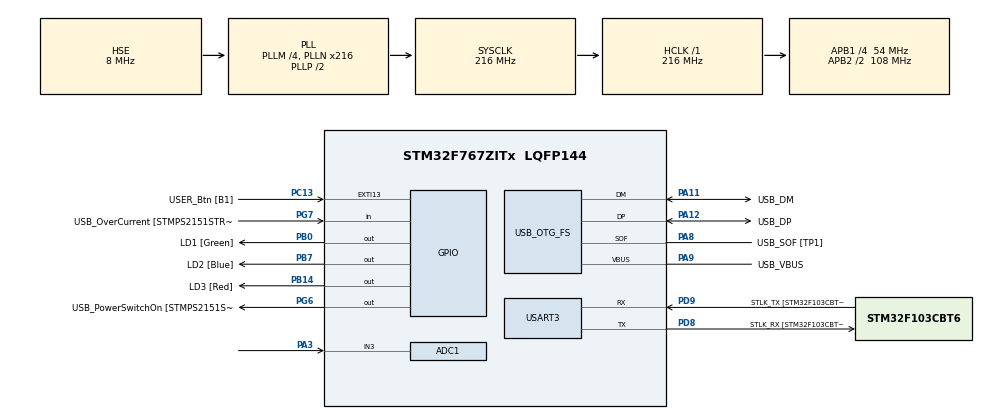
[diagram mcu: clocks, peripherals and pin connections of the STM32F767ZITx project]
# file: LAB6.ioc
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ADC1.Channel-0\#ChannelRegularConversion=ADC_CHANNEL_3
ADC1.ExternalTrigConv=ADC_EXTERNALTRIGCONV_T2_TRGO
ADC1.NbrOfConversionFlag=1
ADC1.Rank-0\#ChannelRegularConversion=1
ADC1.SamplingTime-0\#ChannelRegularConversion=ADC_SAMPLETIME_3CYCLES
ADC1.master=1
Mcu.Family=STM32F7
Mcu.Name=STM32F767ZITx
Mcu.Package=LQFP144
NVIC.ADC_IRQn=true\:2\:0\:true\:false\:true\:true\:true\:true
NVIC.PriorityGroup=NVIC_PRIORITYGROUP_2
NVIC.TIM1_UP_TIM10_IRQn=true\:1\:0\:true\:false\:true\:true\:true\:true
NVIC.TIM2_IRQn=true\:2\:0\:true\:false\:true\:true\:true\:true
PA1.GPIO_Label=RMII_REF_CLK [LAN8742A-CZ-TR_REFCLK0]
PA1.Signal=ETH_REF_CLK
PA10.GPIO_Label=USB_ID
PA10.Signal=USB_OTG_FS_ID
PA11.GPIO_Label=USB_DM
PA11.Mode=Device_Only
PA11.Signal=USB_OTG_FS_DM
PA12.GPIO_Label=USB_DP
PA12.Mode=Device_Only
PA12.Signal=USB_OTG_FS_DP
PA13.GPIO_Label=TMS
PA13.Mode=Serial_Wire
PA13.Signal=SYS_JTMS-SWDIO
PA14.GPIO_Label=TCK
PA14.Mode=Serial_Wire
PA14.Signal=SYS_JTCK-SWCLK
PA2.GPIO_Label=RMII_MDIO [LAN8742A-CZ-TR_MDIO]
PA2.Signal=ETH_MDIO
PA3.Signal=ADCx_IN3
PA7.GPIO_Label=RMII_CRS_DV [LAN8742A-CZ-TR_CRS_DV]
PA7.Signal=ETH_CRS_DV
PA8.GPIO_Label=USB_SOF [TP1]
PA8.Mode=Activate_SOF_FS
PA8.Signal=USB_OTG_FS_SOF
PA9.GPIO_Label=USB_VBUS
PA9.Mode=Activate_VBUS
PA9.Signal=USB_OTG_FS_VBUS
PB0.GPIO_Label=LD1 [Green]
PB0.Signal=GPIO_Output
PB13.GPIO_Label=RMII_TXD1 [LAN8742A-CZ-TR_TXD1]
PB13.Signal=ETH_TXD1
PB14.GPIO_Label=LD3 [Red]
PB14.Signal=GPIO_Output
PB3.GPIO_Label=SWO
PB3.Signal=SYS_JTDO-SWO
PB7.GPIO_Label=LD2 [Blue]
PB7.Signal=GPIO_Output
PC1.GPIO_Label=RMII_MDC [LAN8742A-CZ-TR_MDC]
PC1.Signal=ETH_MDC
PC13.GPIO_Label=USER_Btn [B1]
PC13.Signal=GPXTI13
PC14/OSC32_IN.Mode=LSE-External-Oscillator
PC14/OSC32_IN.Signal=RCC_OSC32_IN
PC15/OSC32_OUT.Mode=LSE-External-Oscillator
PC15/OSC32_OUT.Signal=RCC_OSC32_OUT
PC4.GPIO_Label=RMII_RXD0 [LAN8742A-CZ-TR_RXD0]
PC4.Signal=ETH_RXD0
PC5.GPIO_Label=RMII_RXD1 [LAN8742A-CZ-TR_RXD1]
PC5.Signal=ETH_RXD1
PD8.GPIO_Label=STLK_RX [STM32F103CBT6_PA3]
PD8.Mode=Asynchronous
PD8.Signal=USART3_TX
PD9.GPIO_Label=STLK_TX [STM32F103CBT6_PA2]
PD9.Mode=Asynchronous
PD9.Signal=USART3_RX
PG11.GPIO_Label=RMII_TX_EN [LAN8742A-CZ-TR_TXEN]
PG11.Signal=ETH_TX_EN
PG13.GPIO_Label=RMII_TXD0 [LAN8742A-CZ-TR_TXD0]
PG13.Signal=ETH_TXD0
PG6.GPIO_Label=USB_PowerSwitchOn [STMPS2151STR_EN]
PG6.Signal=GPIO_Output
PG7.GPIO_Label=USB_OverCurrent [STMPS2151STR_FAULT]
PG7.Signal=GPIO_Input
PH0/OSC_IN.GPIO_Label=MCO [STM32F103CBT6_PA8]
PH0/OSC_IN.Mode=HSE-External-Clock-Source
PH0/OSC_IN.Signal=RCC_OSC_IN
PH1/OSC_OUT.Mode=HSE-External-Clock-Source
PH1/OSC_OUT.Signal=RCC_OSC_OUT
ProjectManager.HeapSize=0x200
ProjectManager.StackSize=0x400
ProjectManager.TargetToolchain=STM32CubeIDE
RCC.48MHZClocksFreq_Value=24000000
RCC.AHBFreq_Value=216000000
RCC.APB1CLKDivider=RCC_HCLK_DIV4
RCC.APB1Freq_Value=54000000
RCC.APB1TimFreq_Value=108000000
RCC.APB2CLKDivider=RCC_HCLK_DIV2
RCC.APB2Freq_Value=108000000
RCC.APB2TimFreq_Value=216000000
RCC.CortexFreq_Value=216000000
RCC.HCLKFreq_Value=216000000
RCC.HSE_VALUE=8000000
RCC.HSI_VALUE=16000000
RCC.PLLM=4
RCC.PLLMUL=RCC_PLL_MUL9
RCC.PLLN=216
RCC.PLLQ=9
RCC.PRESCALERUSB=RCC_USBCLKSOURCE_PLL_DIV1_5
RCC.SYSCLKFreq_VALUE=216000000
RCC.SYSCLKSource=RCC_SYSCLKSOURCE_PLLCLK
RCC.SYSCLKSourceVirtual=RCC_SYSCLKSOURCE_PLLCLK
RCC.USBFreq_Value=48000000
RCC.VCOOutputFreq_Value=432000000
SH.ADCx_IN3.0=ADC1_IN3,IN3
TIM1.ClockDivision=TIM_CLOCKDIVISION_DIV1
TIM1.Period=1000-1
TIM1.Prescaler=216-1
TIM2.ClockDivision=TIM_CLOCKDIVISION_DIV4
TIM2.Period=100000-1
TIM2.Prescaler=16-1
TIM2.TIM_MasterOutputTrigger=TIM_TRGO_UPDATE
USART3.VirtualMode-Asynchronous=VM_ASYNC
USB_OTG_FS.VirtualMode=Device_Only
VP_TIM1_VS_ClockSourceINT.Mode=Internal
VP_TIM2_VS_ClockSourceINT.Mode=Internal
board=NUCLEO-F767ZI

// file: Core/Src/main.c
/* USER CODE BEGIN Header */
/**
  ******************************************************************************
  * @file           : main.c
  * @brief          : Main program body
  ******************************************************************************
  * @attention
  *
  * Copyright (c) 2023 STMicroelectronics.
  * All rights reserved.
  *
  * This software is licensed under terms that can be found in the LICENSE file
  * in the root directory of this software component.
  * If no LICENSE file comes with this software, it is provided AS-IS.
  *
  ******************************************************************************
  */
/* USER CODE END Header */
#include "main.h"
#include "adc.h"
#include "tim.h"
#include "usart.h"
#include "usb_otg.h"
#include "gpio.h"

/* USER CODE BEGIN Includes */
#include "stdio.h"
#include "string.h"

/* USER CODE END Includes */

/* USER CODE BEGIN PM */
#define print(x) HAL_UART_Transmit(&huart3, (uint8_t*)x, strlen(x),1000)
/* USER CODE END PM */

/* USER CODE BEGIN PV */
uint32_t count;
uint32_t minute=0;
uint32_t second;
/* USER CODE END PV */

void SystemClock_Config(void);

/* USER CODE BEGIN 0 */
void displayNumber(uint32_t myInteger)
{
	char toBaseTen[50];
	sprintf(toBaseTen,"%d",myInteger);
	print(toBaseTen);
	print("\r");

}

void displayTime()
{
	char toMinute[10];
	char toSecond[10];
//	second = count;
	print("\r");
	strcpy(toSecond,second);
	sprintf(toSecond,"%d",second);
	/*if(second == 60)
	{
		minute++;
		sprintf(toMinute,"%d",minute);
		second = 0;
	}*/
//	print(toSecond);

}
/* USER CODE END 0 */

int main(void)
{

  /* MCU Configuration--------------------------------------------------------*/

  /* Reset of all peripherals, Initializes the Flash interface and the Systick. */
  HAL_Init();

  /* Configure the system clock */
  SystemClock_Config();

  /* Initialize all configured peripherals */
  MX_GPIO_Init();
  MX_USART3_UART_Init();
  MX_USB_OTG_FS_PCD_Init();
  MX_ADC1_Init();
  MX_TIM2_Init();
  MX_TIM1_Init();
  /* USER CODE BEGIN 2 */
  HAL_TIM_Base_Start_IT(&htim1);
//  HAL_TIM_Base_Start_IT(&htim2);

  /* USER CODE END 2 */

  /* Infinite loop */
  /* USER CODE BEGIN WHILE */
  while (1)
  {
	  displayNumber(count);
	  HAL_Delay(400);
    /* USER CODE END WHILE */

  }
}

void SystemClock_Config(void)
{
  RCC_OscInitTypeDef RCC_OscInitStruct = {0};
  RCC_ClkInitTypeDef RCC_ClkInitStruct = {0};

  /** Configure LSE Drive Capability
  */
  HAL_PWR_EnableBkUpAccess();

  /** Configure the main internal regulator output voltage
  */
  __HAL_RCC_PWR_CLK_ENABLE();
  __HAL_PWR_VOLTAGESCALING_CONFIG(PWR_REGULATOR_VOLTAGE_SCALE1);

  /** Initializes the RCC Oscillators according to the specified parameters
  * in the RCC_OscInitTypeDef structure.
  */
  RCC_OscInitStruct.OscillatorType = RCC_OSCILLATORTYPE_HSE;
  RCC_OscInitStruct.HSEState = RCC_HSE_BYPASS;
  RCC_OscInitStruct.PLL.PLLState = RCC_PLL_ON;
  RCC_OscInitStruct.PLL.PLLSource = RCC_PLLSOURCE_HSE;
  RCC_OscInitStruct.PLL.PLLM = 4;
  RCC_OscInitStruct.PLL.PLLN = 216;
  RCC_OscInitStruct.PLL.PLLP = RCC_PLLP_DIV2;
  RCC_OscInitStruct.PLL.PLLQ = 9;
  RCC_OscInitStruct.PLL.PLLR = 2;
  if (HAL_RCC_OscConfig(&RCC_OscInitStruct) != HAL_OK)
  {
    Error_Handler();
  }

  /** Activate the Over-Drive mode
  */
  if (HAL_PWREx_EnableOverDrive() != HAL_OK)
  {
    Error_Handler();
  }

  /** Initializes the CPU, AHB and APB buses clocks
  */
  RCC_ClkInitStruct.ClockType = RCC_CLOCKTYPE_HCLK|RCC_CLOCKTYPE_SYSCLK
                              |RCC_CLOCKTYPE_PCLK1|RCC_CLOCKTYPE_PCLK2;
  RCC_ClkInitStruct.SYSCLKSource = RCC_SYSCLKSOURCE_PLLCLK;
  RCC_ClkInitStruct.AHBCLKDivider = RCC_SYSCLK_DIV1;
  RCC_ClkInitStruct.APB1CLKDivider = RCC_HCLK_DIV4;
  RCC_ClkInitStruct.APB2CLKDivider = RCC_HCLK_DIV2;

  if (HAL_RCC_ClockConfig(&RCC_ClkInitStruct, FLASH_LATENCY_7) != HAL_OK)
  {
    Error_Handler();
  }
}

/* USER CODE BEGIN 4 */
void HAL_ADC_ConvCpltCallback(ADC_HandleTypeDef* hadc){
	uint32_t adcVal;
	char adcResult[30];

	HAL_GPIO_TogglePin(GPIOB,GPIO_PIN_7);
	adcVal = HAL_ADC_GetValue(hadc);
	sprintf(adcResult,"ADC_Val = 0x%010X \n\r", adcVal);
//	HAL_UART_Transmit(&huart3, (uint8_t*) adcResult,strlen(adcResult),100);

}
/* USER CODE END 4 */

void Error_Handler(void)
{
  __disable_irq();
  while (1)
  {
  }
}
